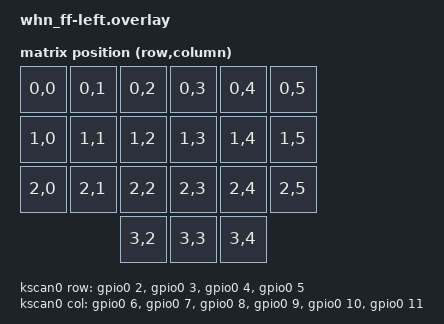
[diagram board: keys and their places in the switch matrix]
/*
 * SuperMini NRF52840 左半部分键盘配置
 * 包含OLED支持
 */

#include <dt-bindings/zmk/matrix_transform.h>

/ {
    chosen {
        zephyr,display = &oled;
        zmk,kscan = &kscan0;
    };

    // 键盘矩阵配置 - 4行6列
    kscan0: kscan {
        compatible = "zmk,kscan-gpio-matrix";
        wakeup-source;
        diode-direction = "col2row";
        
        // 行定义 - 4行
        row-gpios
            = <&gpio0 2 (GPIO_ACTIVE_HIGH | GPIO_PULL_DOWN)>   // 行1 - P0.02
            , <&gpio0 3 (GPIO_ACTIVE_HIGH | GPIO_PULL_DOWN)>   // 行2 - P0.03
            , <&gpio0 4 (GPIO_ACTIVE_HIGH | GPIO_PULL_DOWN)>   // 行3 - P0.04
            , <&gpio0 5 (GPIO_ACTIVE_HIGH | GPIO_PULL_DOWN)>   // 行4 - P0.05
            ;
        
        // 列定义 - 6列
        col-gpios
            = <&gpio0 6 GPIO_ACTIVE_HIGH>   // 列1 - P0.06
            , <&gpio0 7 GPIO_ACTIVE_HIGH>   // 列2 - P0.07
            , <&gpio0 8 GPIO_ACTIVE_HIGH>   // 列3 - P0.08
            , <&gpio0 9 GPIO_ACTIVE_HIGH>   // 列4 - P0.09
            , <&gpio0 10 GPIO_ACTIVE_HIGH>  // 列5 - P0.10
            , <&gpio0 11 GPIO_ACTIVE_HIGH>  // 列6 - P0.11
            ;
    };

    // 矩阵转换 - 4行6列
    default_transform: keymap_transform_0 {
        compatible = "zmk,matrix-transform";
        columns = <6>;
        rows = <4>;
        map = <
RC(0,0) RC(0,1) RC(0,2) RC(0,3) RC(0,4) RC(0,5)
RC(1,0) RC(1,1) RC(1,2) RC(1,3) RC(1,4) RC(1,5)
RC(2,0) RC(2,1) RC(2,2) RC(2,3) RC(2,4) RC(2,5)
                RC(3,2) RC(3,3) RC(3,4)
        >;
    };
};

// I2C0配置 - OLED使用
&i2c0 {
    status = "okay";
    
    oled: ssd1306@3c {
        compatible = "solomon,ssd1306fb";
        reg = <0x3c>;
        width = <128>;
        height = <32>;
        segment-offset = <0>;
        page-offset = <0>;
        display-offset = <0>;
        multiplex-ratio = <31>;
        segment-remap;
        com-invdir;
        com-sequential;
        prechargep = <0x22>;
    };
};
